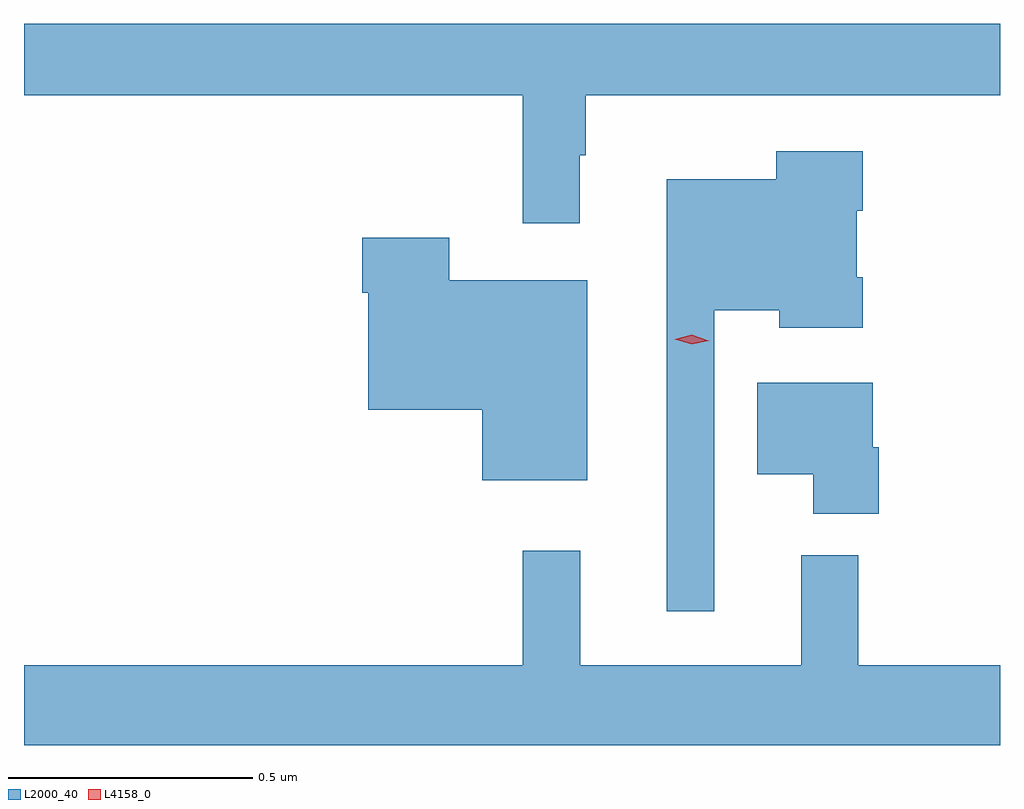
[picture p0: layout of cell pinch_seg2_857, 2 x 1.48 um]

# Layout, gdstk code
import gdstk
lib = gdstk.Library(unit=1e-6, precision=1e-09)
def P(c, l, *ps):  # polygons
    for p in ps: c.add(gdstk.Polygon(p, *l))
L2000_40 = (2000, 40)
L4158_0 = (4158, 0)

pinch_seg2_857 = lib.new_cell('pinch_seg2_857')
P(pinch_seg2_857, L2000_40, [(849.982,610.217),(849.994,610.217),(849.994,610.34),(850.843,610.34),(850.843,610.486),(848.843,610.486),(848.843,610.34),(849.865,610.34),(849.865,610.077),(849.982,610.077)],
  [(850.257,609.899),(850.391,609.899),(850.391,609.863),(850.562,609.863),(850.562,609.967),(850.549,609.967),(850.549,610.103),(850.562,610.103),(850.562,610.225),(850.384,610.225),(850.384,610.168),(850.16,610.168),(850.16,609.282),(850.257,609.282)],
  [(849.997,609.961),(849.714,609.961),(849.714,610.048),(849.536,610.048),(849.536,609.935),(849.548,609.935),(849.548,609.695),(849.782,609.695),(849.782,609.551),(849.997,609.551)],
  [(850.595,609.618),(850.582,609.618),(850.582,609.751),(850.346,609.751),(850.346,609.563),(850.46,609.563),(850.46,609.482),(850.595,609.482)],
  [(850.843,609.172),(850.553,609.172),(850.553,609.397),(850.436,609.397),(850.436,609.172),(849.983,609.172),(849.983,609.406),(849.865,609.406),(849.865,609.172),(848.843,609.172),(848.843,609.008),(850.843,609.008)])
P(pinch_seg2_857, L4158_0, [(850.211,609.829),(850.176,609.84),(850.175,609.84),(850.176,609.84),(850.211,609.849),(850.246,609.837),(850.247,609.837),(850.246,609.837)])

lib.write_gds('pinch_seg2_857.gds')
